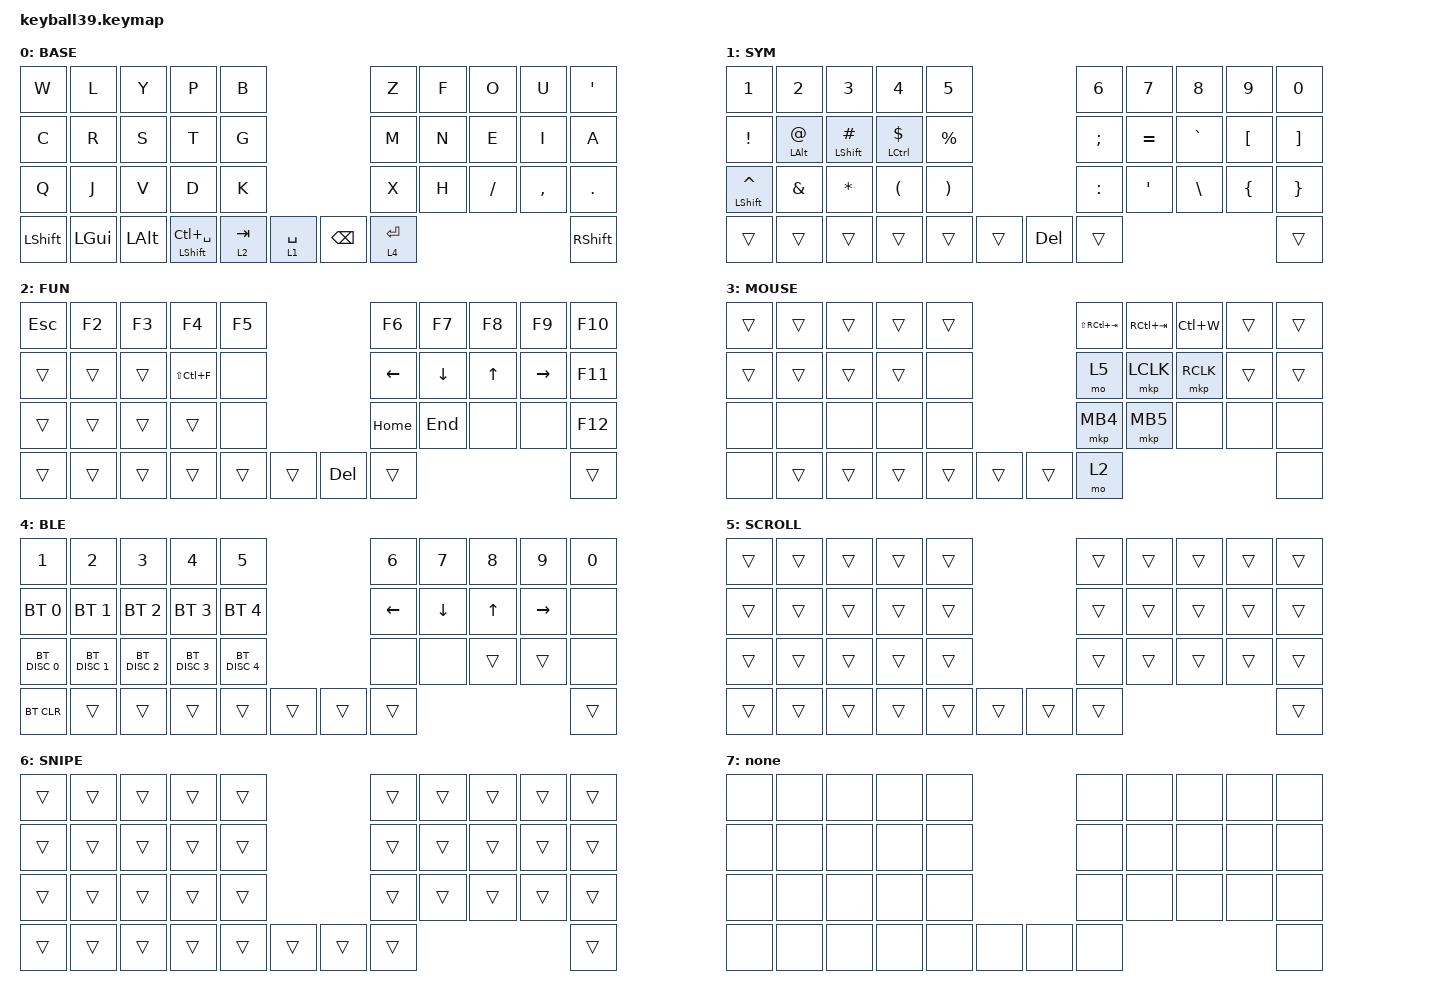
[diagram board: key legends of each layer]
#define DEFAULT 0
#define NUM     1
#define SYM     2
#define FUN     3
#define MOUSE   4
#define SCROLL  5
#define SNIPE   6

#include <behaviors/mouse_keys.dtsi>
#include <dt-bindings/zmk/mouse.h>
#include <behaviors.dtsi>
#include <dt-bindings/zmk/bt.h>
#include <dt-bindings/zmk/keys.h>

&lt {
    tapping-term-ms = <240>;
    flavor = "balanced";
    quick-tap-ms = <150>;
};

&mt {
    tapping-term-ms = <200>;
    flavor = "tap-preferred";
    quick-tap-ms = <150>;
};

&caps_word { continue-list = <UNDERSCORE MINUS>; };

/ {
    // custom shift using mod-morph 

    behaviors {
        cmqus: comma_question {
            compatible = "zmk,behavior-mod-morph";
            label = "COMMA_QUESTION";
            #binding-cells = <0>;
            bindings = <&kp COMMA>, <&kp QUESTION>;

            mods = <(MOD_LSFT|MOD_RSFT)>;
        };

        dtsmi: dot_semi {
            compatible = "zmk,behavior-mod-morph";
            label = "DOT_SEMI";
            #binding-cells = <0>;
            bindings = <&kp DOT>, <&kp SEMI>;

            mods = <(MOD_LSFT|MOD_RSFT)>;
        };
    };

    combos {
        compatible = "zmk,combos";

        hidari_click {
            bindings = <&mkp MB1>;
            key-positions = <16 15>;
            layers = <0>;
        };

        migi_click {
            bindings = <&mkp MB2>;
            key-positions = <17 16>;
            layers = <0>;
        };

        scroll {
            bindings = <&mo 5>;
            key-positions = <25 26>;
            layers = <0>;
        };

        naka_click {
            bindings = <&mkp MB3>;
            key-positions = <17 18>;
            layers = <0>;
        };

        to0 {
            bindings = <&to 0>;
            key-positions = <38 30>;
            layers = <7>;
        };

        toNone {
            bindings = <&to 7>;
            key-positions = <30 38>;
            layers = <0>;
        };
    };

    keymap {
        compatible = "zmk,keymap";

        default_layer {
            label = "BASE";
            bindings = <
&kp W           &kp L     &kp Y     &kp P                     &kp B                                  &kp Z        &kp F  &kp O     &kp U      &kp SQT
&kp C           &kp R     &kp S     &kp T                     &kp G                                  &kp M        &kp N  &kp E     &kp I      &kp A
&kp Q           &kp J     &kp V     &kp D                     &kp K                                  &kp X        &kp H  &kp FSLH  &kp COMMA  &kp DOT
&kp LEFT_SHIFT  &kp LGUI  &kp LALT  &mt LEFT_SHIFT LC(SPACE)  &lt 2 TAB  &lt 1 SPACE  &kp BACKSPACE  &lt 4 ENTER                              &kp RSHFT
            >;
        };

        symbol_layer {
            label = "SYM";
            bindings = <
&kp NUMBER_1     &kp NUMBER_2          &kp NUMBER_3         &kp NUMBER_4             &kp N5                                     &kp NUMBER_6   &kp N7            &kp N8         &kp N9            &kp N0
&kp EXCLAMATION  &mt LEFT_ALT AT_SIGN  &mt LEFT_SHIFT HASH  &mt LEFT_CONTROL DOLLAR  &kp PERCENT                                &kp SEMICOLON  &kp EQUAL         &kp GRAVE      &kp LEFT_BRACKET  &kp RIGHT_BRACKET
&mt LSHFT CARET  &kp AMPERSAND         &kp ASTERISK         &kp LEFT_PARENTHESIS     &kp RIGHT_PARENTHESIS                      &kp COLON      &kp SINGLE_QUOTE  &kp BACKSLASH  &kp LEFT_BRACE    &kp RIGHT_BRACE
&trans           &trans                &trans               &trans                   &trans                 &trans  &kp DELETE  &trans                                                            &trans
            >;
        };

        function_layer {
            label = "FUN";
            bindings = <
&kp ESCAPE  &kp F2  &kp F3  &kp F4         &kp F5                      &kp F6          &kp F7          &kp F8        &kp F9           &kp F10
&trans      &trans  &trans  &kp LS(LC(F))  &none                       &kp LEFT_ARROW  &kp DOWN_ARROW  &kp UP_ARROW  &kp RIGHT_ARROW  &kp F11
&trans      &trans  &trans  &trans         &none                       &kp HOME        &kp END         &none         &none            &kp F12
&trans      &trans  &trans  &trans         &trans  &trans  &kp DELETE  &trans                                                         &trans
            >;
        };

        mouse_layer {
            label = "MOUSE";
            bindings = <
&trans  &trans  &trans  &trans  &trans                  &kp LS(RC(TAB))  &kp RC(TAB)  &kp LC(W)  &trans  &trans
&trans  &trans  &trans  &trans  &none                   &mo 5            &mkp LCLK    &mkp RCLK  &trans  &trans
&none   &none   &none   &none   &none                   &mkp MB4         &mkp MB5     &none      &none   &none
&none   &trans  &trans  &trans  &trans  &trans  &trans  &mo 2                                            &none
            >;
        };

        bluetooth_layer {
            label = "BLE";
            bindings = <
&kp NUMBER_1   &kp NUMBER_2   &kp NUMBER_3   &kp NUMBER_4   &kp NUMBER_5                   &kp NUMBER_6    &kp NUMBER_7    &kp NUMBER_8  &kp NUMBER_9     &kp NUMBER_0
&bt BT_SEL 0   &bt BT_SEL 1   &bt BT_SEL 2   &bt BT_SEL 3   &bt BT_SEL 4                   &kp LEFT_ARROW  &kp DOWN_ARROW  &kp UP_ARROW  &kp RIGHT_ARROW  &none
&bt BT_DISC 0  &bt BT_DISC 1  &bt BT_DISC 2  &bt BT_DISC 3  &bt BT_DISC 4                  &none           &none           &trans        &trans           &none
&bt BT_CLR     &trans         &trans         &trans         &trans         &trans  &trans  &trans                                                         &trans
            >;
        };

        scroll_layer {
            label = "SCROLL";
            bindings = <
&trans  &trans  &trans  &trans  &trans                  &trans  &trans  &trans  &trans  &trans
&trans  &trans  &trans  &trans  &trans                  &trans  &trans  &trans  &trans  &trans
&trans  &trans  &trans  &trans  &trans                  &trans  &trans  &trans  &trans  &trans
&trans  &trans  &trans  &trans  &trans  &trans  &trans  &trans                          &trans
            >;
        };

        snipe_layer {
            label = "SNIPE";
            bindings = <
&trans  &trans  &trans  &trans  &trans                  &trans  &trans  &trans  &trans  &trans
&trans  &trans  &trans  &trans  &trans                  &trans  &trans  &trans  &trans  &trans
&trans  &trans  &trans  &trans  &trans                  &trans  &trans  &trans  &trans  &trans
&trans  &trans  &trans  &trans  &trans  &trans  &trans  &trans                          &trans
            >;
        };

        nothing_layer {
            bindings = <
&none  &none  &none  &none  &none                &none  &none  &none  &none  &none
&none  &none  &none  &none  &none                &none  &none  &none  &none  &none
&none  &none  &none  &none  &none                &none  &none  &none  &none  &none
&none  &none  &none  &none  &none  &none  &none  &none                       &none
            >;

            label = "none";
        };
    };
};
